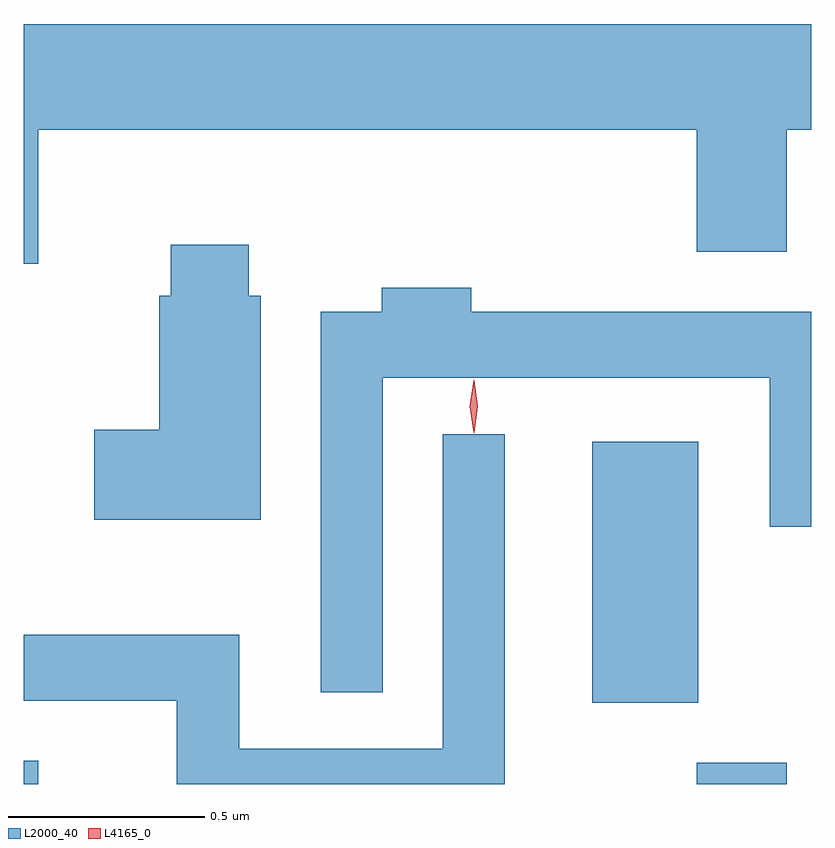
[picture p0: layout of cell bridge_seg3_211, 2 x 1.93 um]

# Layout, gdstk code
import gdstk
lib = gdstk.Library(unit=1e-6, precision=1e-09)
def R(c, l, rs):  # rectangles x0, y0, x1, y1
    for r in rs: c.add(gdstk.rectangle(r[:2], r[2:], *l))
def P(c, l, *ps):  # polygons
    for p in ps: c.add(gdstk.Polygon(p, *l))
L2000_40 = (2000, 40)
L4165_0 = (4165, 0)

bridge_seg3_211 = lib.new_cell('bridge_seg3_211')
R(bridge_seg3_211, L2000_40, [(1071.102,1177.635,1071.139,1177.694), (1072.811,1177.635,1073.039,1177.689), (1072.546,1177.841,1072.814,1178.504)])
P(bridge_seg3_211, L2000_40, [(1071.139,1179.296),(1072.811,1179.296),(1072.811,1178.986),(1073.039,1178.986),(1073.039,1179.296),(1073.102,1179.296),(1073.102,1179.564),(1071.102,1179.564),(1071.102,1178.956),(1071.139,1178.956)],
  [(1071.704,1178.874),(1071.674,1178.874),(1071.674,1179.004),(1071.476,1179.004),(1071.476,1178.874),(1071.446,1178.874),(1071.446,1178.534),(1071.281,1178.534),(1071.281,1178.306),(1071.704,1178.306)],
  [(1072.014,1178.666),(1072.996,1178.666),(1072.996,1178.288),(1073.102,1178.288),(1073.102,1178.834),(1072.239,1178.834),(1072.239,1178.894),(1072.011,1178.894),(1072.011,1178.834),(1071.856,1178.834),(1071.856,1177.868),(1072.014,1177.868)],
  [(1072.324,1178.523),(1072.166,1178.523),(1072.166,1177.724),(1071.649,1177.724),(1071.649,1178.014),(1071.102,1178.014),(1071.102,1177.846),(1071.491,1177.846),(1071.491,1177.635),(1072.324,1177.635)])
P(bridge_seg3_211, L4165_0, [(1072.245,1178.527),(1072.245,1178.527),(1072.235,1178.594),(1072.245,1178.66),(1072.245,1178.661),(1072.246,1178.66),(1072.255,1178.594),(1072.246,1178.527)])

lib.write_gds('bridge_seg3_211.gds')
